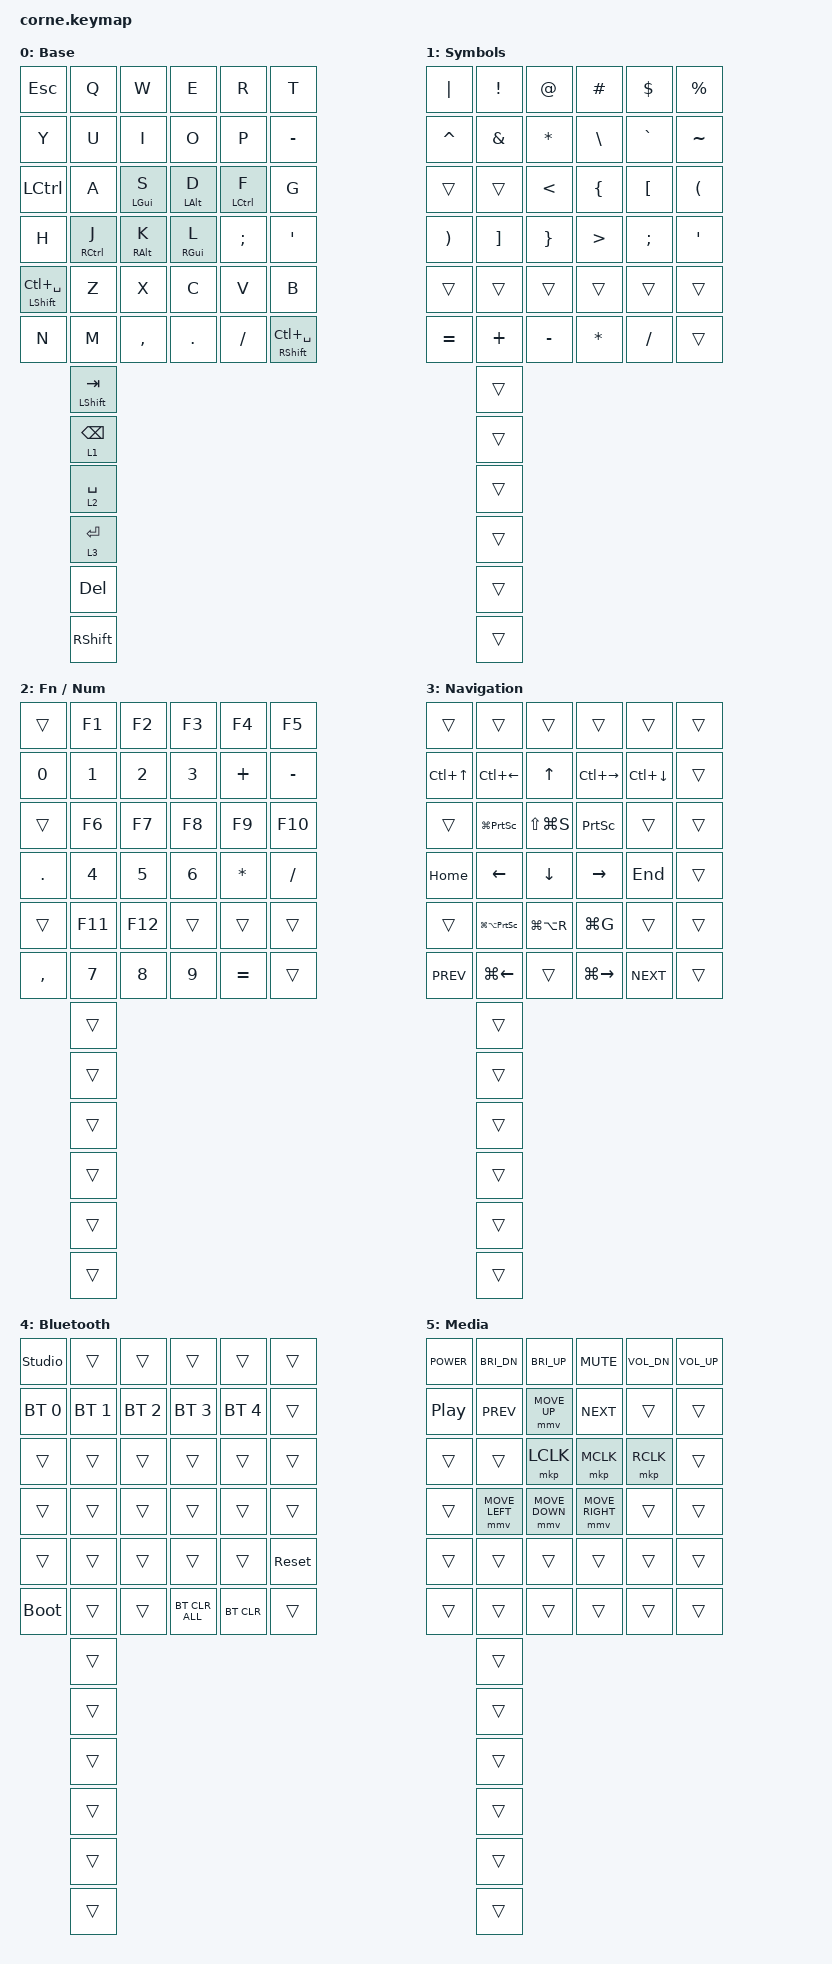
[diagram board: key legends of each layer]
/*
 * Copyright (c) 2020 The ZMK Contributors
 *
 * SPDX-License-Identifier: MIT
 */

/*
 * Cygnus 3x6 - keymap
 */
#include <behaviors.dtsi>
#include <dt-bindings/zmk/bt.h>
#include <dt-bindings/zmk/keys.h>
#include <dt-bindings/zmk/mouse.h>

/ {
    combos {
        compatible = "zmk,combos";

        /*
         * IME toggle (left) + IME toggle (right) -> Layer 4 while held
         *
         * Cygnus/Corne 3x6 positions:
         * IME toggle (left)  = 24
         * IME toggle (right) = 35
         */
        settings_layer {
            timeout-ms = <60>;
            key-positions = <24 35>;
            bindings = <&mo 4>;
        };

        /*
         * SPACE + ENTER simultaneously -> hold Layer 5
         */
        media_layer {
            timeout-ms = <60>;
            key-positions = <38 39>;
            bindings = <&mo 5>;
            layers = <0>;
        };

        /*
         * B + T + O simultaneously -> bootloader
         * (same as double-pressing the reset button)
         *
         * Cygnus/Corne 3x6 positions:
         * T = 5
         * O = 9
         * B = 29
         */
        bootloader_combo {
            timeout-ms = <100>;
            key-positions = <5 9 29>;
            bindings = <&bootloader>;
        };
    };

    behaviors {
        /*
         * Home-row mods
         * Hold decision: 250 ms
         */

        hml: home_row_left {
            compatible = "zmk,behavior-hold-tap";
            label = "HOME_ROW_LEFT";
            #binding-cells = <2>;

            tapping-term-ms = <250>;
            quick-tap-ms = <175>;
            require-prior-idle-ms = <150>;
            flavor = "balanced";

            bindings = <&kp>, <&kp>;

            hold-trigger-key-positions =
                <6 7 8 9 10 11
                 18 19 20 21 22 23
                 30 31 32 33 34 35>;

            hold-trigger-on-release;
        };

        hmr: home_row_right {
            compatible = "zmk,behavior-hold-tap";
            label = "HOME_ROW_RIGHT";
            #binding-cells = <2>;

            tapping-term-ms = <250>;
            quick-tap-ms = <175>;
            require-prior-idle-ms = <150>;
            flavor = "balanced";

            bindings = <&kp>, <&kp>;

            hold-trigger-key-positions =
                <0 1 2 3 4 5
                 12 13 14 15 16 17
                 24 25 26 27 28 29>;

            hold-trigger-on-release;
        };

        /*
         * Modifier-tap
         * e.g. TAB/Shift, KANA/Shift
         */
        mt250: mod_tap_250 {
            compatible = "zmk,behavior-hold-tap";
            label = "MOD_TAP_250";
            #binding-cells = <2>;

            tapping-term-ms = <250>;
            quick-tap-ms = <175>;
            flavor = "balanced";

            bindings = <&kp>, <&kp>;
        };

        /*
         * Layer-tap
         *
         * arg1 = layer
         * arg2 = tap key
         */
        lt250: layer_tap_250 {
            compatible = "zmk,behavior-hold-tap";
            label = "LAYER_TAP_250";
            #binding-cells = <2>;

            tapping-term-ms = <250>;
            quick-tap-ms = <175>;
            flavor = "balanced";

            bindings = <&mo>, <&kp>;
        };
    };


    keymap {
        compatible = "zmk,keymap";


        /*
         * ==========================================================
         * Layer 0 - BASE
         * ==========================================================
         *
         * LEFT                                  RIGHT
         *
         * ESC   Q   W   E   R   T      Y   U   I   O   P   -
         * CTRL  A   GUI ALT CTRL G     H   CTRL ALT GUI ;  '
         * C-SPC Z   X   C   V   B      N   M   ,   .   /   C-SPC
         *
         *       TAB/SFT BSPC/L1 SPACE/L2   ENTER/L3 DEL RSHIFT
         */

        default_layer {
            display-name = "Base";

            bindings = <

&kp ESC          &kp Q                 &kp W                 &kp E                &kp R                &kp T
&kp Y            &kp U                 &kp I                 &kp O                &kp P                &kp MINUS

&kp LEFT_CONTROL &kp A                 &hml LEFT_GUI S       &hml LEFT_ALT D      &hml LEFT_CONTROL F  &kp G
&kp H            &hmr RIGHT_CONTROL J  &hmr RIGHT_ALT K      &hmr RIGHT_GUI L     &kp SEMI             &kp SINGLE_QUOTE

&mt250 LEFT_SHIFT LC(SPACE) &kp Z                 &kp X                 &kp C                &kp V                &kp B
&kp N            &kp M                 &kp COMMA             &kp DOT              &kp SLASH            &mt250 RIGHT_SHIFT LC(SPACE)

                         &mt250 LEFT_SHIFT TAB
                         &lt250 1 BACKSPACE
                         &lt250 2 SPACE
                         &lt250 3 ENTER
                         &kp DELETE
                         &kp RIGHT_SHIFT
            >;
        };


        /*
         * ==========================================================
         * Layer 1 - SYMBOL
         * Conductor L1 based
         * ==========================================================
         */

        symbol_layer {
            display-name = "Symbols";

            bindings = <

&kp PIPE         &kp EXCL              &kp AT                &kp HASH             &kp DLLR             &kp PRCNT
&kp CARET        &kp AMPS              &kp ASTRK             &kp BSLH             &kp GRAVE            &kp TILDE

&trans           &trans                &kp LT                &kp LBRC             &kp LBKT             &kp LPAR
&kp RPAR         &kp RBKT              &kp RBRC              &kp GT               &kp SEMI             &kp SINGLE_QUOTE

&trans           &trans                &trans                &trans               &trans               &trans
&kp EQUAL        &kp PLUS              &kp MINUS             &kp ASTRK            &kp SLASH            &trans

                         &trans
                         &trans
                         &trans
                         &trans
                         &trans
                         &trans
            >;
        };


        /*
         * ==========================================================
         * Layer 2 - FUNCTION / NUMPAD
         * ==========================================================
         */

        function_layer {
            display-name = "Fn / Num";

            bindings = <

&trans           &kp F1                &kp F2                &kp F3               &kp F4               &kp F5
&kp N0           &kp N1                &kp N2                &kp N3               &kp PLUS             &kp MINUS

&trans           &kp F6                &kp F7                &kp F8               &kp F9               &kp F10
&kp DOT          &kp N4                &kp N5                &kp N6               &kp ASTRK            &kp SLASH

&trans           &kp F11               &kp F12               &trans               &trans               &trans
&kp COMMA        &kp N7                &kp N8                &kp N9               &kp EQUAL            &trans

                         &trans
                         &trans
                         &trans
                         &trans
                         &trans
                         &trans
            >;
        };


        /*
         * ==========================================================
         * Layer 3 - NAVIGATION / Windows
         * ==========================================================
         *
         * Row1: Win+PrtScn (full->file) / Win+Shift+S (select->clipboard) / PrtScn (full->clipboard)
         * Row2: Win+Alt+PrtScn (game clip) / Win+Alt+R (game record toggle) / Win+G (game bar)
         * HOME/END replace the old Ctrl+A/Ctrl+E emacs-style line nav, since
         * Windows apps generally don't support that and Ctrl+A means Select All.
         * Win+Left/Right already does something useful on Windows (snap window).
         */

        navigation_layer {
            display-name = "Navigation";

            bindings = <

&trans           &trans                &trans                &trans               &trans               &trans
&kp LC(UP_ARROW) &kp LC(LEFT_ARROW)    &kp UP_ARROW          &kp LC(RIGHT_ARROW)  &kp LC(DOWN_ARROW)   &trans

&trans           &kp LG(PSCRN)         &kp LS(LG(S))         &kp PSCRN            &trans               &trans
&kp HOME         &kp LEFT_ARROW        &kp DOWN_ARROW        &kp RIGHT_ARROW      &kp END              &trans

&trans           &kp LG(LA(PSCRN))     &kp LG(LA(R))         &kp LG(G)            &trans               &trans
&kp C_PREV       &kp LG(LEFT_ARROW)    &trans                &kp LG(RIGHT_ARROW)  &kp C_NEXT           &trans

                         &trans
                         &trans
                         &trans
                         &trans
                         &trans
                         &trans
            >;
        };


        /*
         * ==========================================================
         * Layer 4 - SETTINGS / Bluetooth
         *
         * IME toggle (left) + IME toggle (right) simultaneously -> hold Layer 4
         * ==========================================================
         */

        settings_layer {
            display-name = "Bluetooth";

            bindings = <

&studio_unlock   &trans                &trans                &trans               &trans               &trans
&bt BT_SEL 0     &bt BT_SEL 1         &bt BT_SEL 2         &bt BT_SEL 3         &bt BT_SEL 4         &trans

&trans           &trans                &trans                &trans               &trans               &trans
&trans           &trans                &trans                &trans               &trans               &trans

&trans           &trans                &trans                &trans               &trans               &sys_reset
&bootloader      &trans                &trans                &bt BT_CLR_ALL       &bt BT_CLR           &trans

                         &trans
                         &trans
                         &trans
                         &trans
                         &trans
                         &trans
            >;
        };

        /*
         * ==========================================================
         * Layer 5 - MEDIA / Mouse
         *
         * SPACE + ENTER simultaneously -> hold Layer 5
         * ==========================================================
         */

        media_layer {
            display-name = "Media";

            bindings = <

&kp C_POWER       &kp C_BRI_DN        &kp C_BRI_UP        &kp C_MUTE          &kp C_VOL_DN        &kp C_VOL_UP
&kp C_PLAY_PAUSE  &kp C_PREV          &mmv MOVE_UP        &kp C_NEXT          &trans              &trans

&trans            &trans              &mkp LCLK           &mkp MCLK           &mkp RCLK           &trans
&trans            &mmv MOVE_LEFT      &mmv MOVE_DOWN      &mmv MOVE_RIGHT     &trans              &trans

&trans            &trans              &trans              &trans              &trans              &trans
&trans            &trans              &trans              &trans              &trans              &trans

                         &trans
                         &trans
                         &trans
                         &trans
                         &trans
                         &trans
            >;
        };
    };
};
